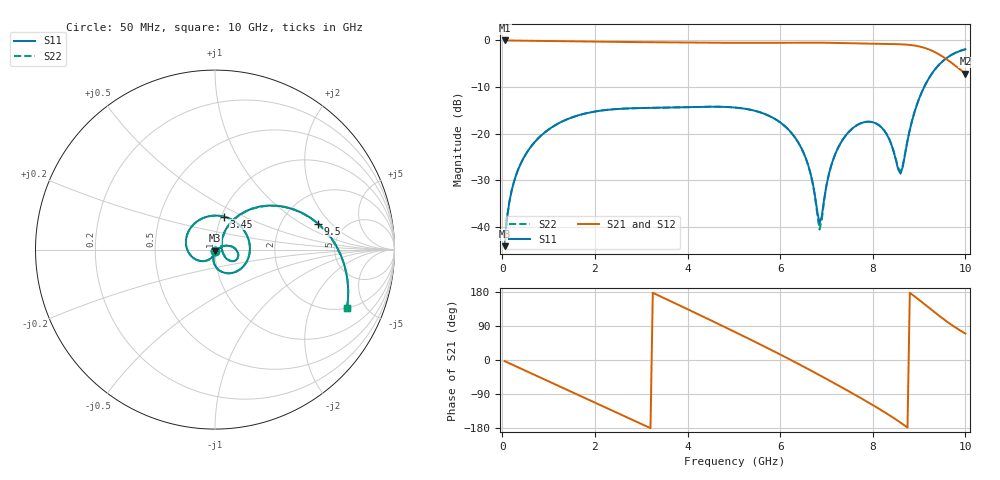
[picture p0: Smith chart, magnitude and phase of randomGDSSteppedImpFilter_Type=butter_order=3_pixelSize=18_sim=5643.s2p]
! freq	dB(S11)	phase(S11)	dB(S12)	phase(S12)
!  dB(S21)	phase(S21)	dB(S22)	phase(S22)
!S-par simulation data
#  GHz  S  DB  R 50
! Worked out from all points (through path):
!   200 points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, 50 MHz to 10 GHz, reference 50 ohm
!   highest |S21| = -0.01 dB at 50 MHz (marker M1); lowest = -7.1 dB at 10 GHz (marker M2)
!   group delay of S21, straight-line fit = 175 ps
!   lowest |S11| = -44.1 dB at 50 MHz (marker M3), VSWR 1.01, Z = 50 - j0.626 ohm
!   |S11| at or under -10 dB: start of sweep to 9.11 GHz
!   |S22| runs from -44.1 to -1.9 dB; largest |S21 - S12| = 0
!   S11 on the Smith chart (normalised r, x): 50 MHz: 1.00, -0.01; 3.45 GHz: 1.03, +0.39; 9.5 GHz: 3.22, +1.44; 10 GHz: 2.00, -3.70
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0.05  -44.07 -89.4  -0.01 -2.9  -0.01 -2.9  -44.07 -89.4
0.2  -32.26 -100.5  -0.02 -11.4  -0.02 -11.4  -32.26 -100.5
0.5  -24.49 -118.4  -0.06 -28.2  -0.06 -28.2  -24.49 -118.4
1.15  -18.11 -155.4  -0.15 -64.7  -0.15 -64.7  -18.11 -155.5
1.75  -15.75 170.9  -0.24 -98.2  -0.24 -98.2  -15.75 170.9
2.65  -14.59 120.4  -0.34 -148.6  -0.34 -148.6  -14.59 120.3
3.4  -14.41 77.9  -0.40 168.7  -0.40 168.7  -14.42 77.8
3.45  -14.41 75.1  -0.41 165.9  -0.41 165.9  -14.41 74.9
4.3  -14.23 26.5  -0.48 116.6  -0.48 116.6  -14.23 26.3
5.05  -14.39 -16.6  -0.51 72.4  -0.51 72.4  -14.40 -16.9
5.95  -17.20 -68.4  -0.49 17.7  -0.49 17.7  -17.21 -68.9
6.4  -22.00 -92.6  -0.47 -10.7  -0.47 -10.7  -22.03 -93.6
6.7  -30.36 -98.5  -0.47 -30.1  -0.47 -30.1  -30.52 -101.2
6.85  -39.23 -45.4  -0.48 -40.0  -0.48 -40.0  -40.51 -46.1
7.1  -26.87 22.3  -0.51 -56.6  -0.51 -56.6  -26.92 24.4
7.4  -20.57 10.3  -0.58 -76.9  -0.58 -76.9  -20.57 11.4
7.95  -17.43 -21.3  -0.71 -115.3  -0.71 -115.3  -17.42 -20.5
8.35  -21.05 -38.5  -0.77 -145.0  -0.77 -145.0  -20.99 -37.3
8.6  -28.56 11.6  -0.83 -165.2  -0.83 -165.2  -28.10 11.7
9  -12.50 54.9  -1.28 158.7  -1.28 158.7  -12.48 54.4
9.5  -4.54 14.1  -3.40 110.5  -3.40 110.5  -4.54 13.9
10  -1.89 -23.9  -7.12 69.7  -7.12 69.7  -1.89 -24.0
